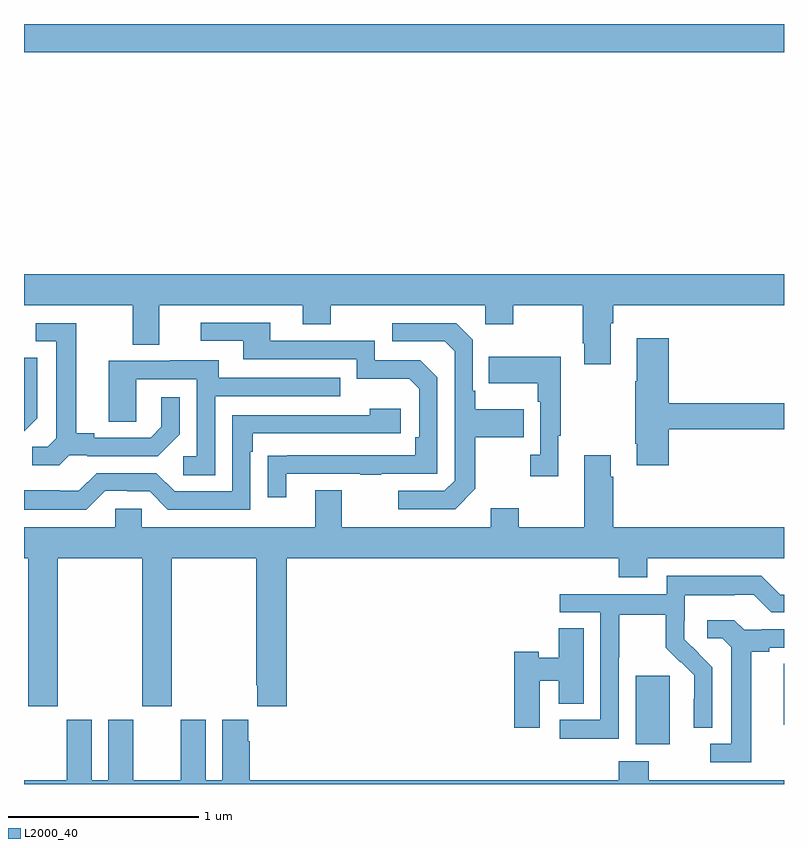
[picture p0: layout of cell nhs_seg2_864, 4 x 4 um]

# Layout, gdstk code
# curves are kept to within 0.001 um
import gdstk
lib = gdstk.Library(unit=1e-6, precision=1e-09)
def R(c, l, rs):  # rectangles x0, y0, x1, y1
    for r in rs: c.add(gdstk.rectangle(r[:2], r[2:], *l))
def P(c, l, *ps):  # polygons
    for p in ps: c.add(gdstk.Polygon(p, *l))
L2000_40 = (2000, 40)

nhs_seg2_864 = lib.new_cell('nhs_seg2_864')
R(nhs_seg2_864, L2000_40, [(158.219,628.01,158.398,628.371), (158.999,628.113,159,628.433), (155,631.652,159,631.8)])
P(nhs_seg2_864, L2000_40, [(158.089,630.224),(158.102,630.224),(158.102,630.32),(159,630.32),(159,630.484),(155,630.484),(155,630.32),(155.573,630.32),(155.573,630.112),(155.713,630.112),(155.713,630.32),(156.467,630.32),(156.467,630.221),(156.615,630.221),(156.615,630.32),(157.428,630.32),(157.428,630.221),(157.575,630.221),(157.575,630.32),(157.942,630.32),(157.942,630.121),(157.949,630.121),(157.949,630.009),(158.089,630.009)],
  [(156.379,629.433),(156.769,629.433),(156.769,629.428),(156.881,629.428),(156.881,629.433),(157.176,629.433),(157.176,629.94),(157.086,630.03),(156.846,630.03),(156.846,630.132),(156.295,630.132),(156.295,630.228),(155.931,630.228),(155.931,630.132),(156.155,630.132),(156.155,630.036),(156.75,630.036),(156.75,629.933),(157.027,629.933),(157.08,629.88),(157.08,629.626),(157.06,629.626),(157.06,629.529),(156.283,629.528),(156.283,629.31),(156.379,629.31)],
  [(155.238,629.529),(155.332,629.529),(155.332,629.526),(155.704,629.526),(155.82,629.642),(155.82,629.836),(155.723,629.836),(155.723,629.679),(155.666,629.622),(155.371,629.622),(155.371,629.645),(155.275,629.645),(155.275,630.225),(155.061,630.225),(155.061,630.129),(155.171,630.129),(155.171,629.621),(155.124,629.574),(155.043,629.574),(155.043,629.477),(155.186,629.477)],
  [(157.375,629.353),(157.375,629.626),(157.631,629.626),(157.631,629.773),(157.375,629.773),(157.375,629.869),(157.362,629.869),(157.362,630.138),(157.275,630.225),(156.939,630.225),(156.939,630.129),(157.215,630.129),(157.266,630.078),(157.266,629.397),(157.212,629.343),(156.969,629.343),(156.969,629.247),(157.269,629.247)],
  [(158.393,629.668),(159,629.668),(159,629.804),(158.393,629.804),(158.393,630.145),(158.225,630.145),(158.225,629.921),(158.218,629.921),(158.218,629.59),(158.225,629.59),(158.225,629.478),(158.393,629.478)],
  [(157.813,629.633),(157.825,629.633),(157.825,630.049),(157.447,630.049),(157.447,629.909),(157.704,629.909),(157.704,629.813),(157.716,629.813),(157.716,629.534),(157.665,629.534),(157.665,629.421),(157.813,629.421)],
  [(155.07,629.726),(155.07,630.044),(155,630.044),(155,629.656)],
  [(156.006,629.841),(156.665,629.841),(156.665,629.937),(156.025,629.937),(156.025,630.031),(155.771,630.031),(155.771,630.027),(155.447,630.027),(155.447,629.707),(155.592,629.707),(155.592,629.931),(155.91,629.931),(155.91,629.526),(155.838,629.526),(155.838,629.425),(156.006,629.425)],
  [(155.427,629.343),(155.543,629.343),(155.543,629.34),(155.661,629.34),(155.757,629.244),(156.192,629.244),(156.192,629.549),(156.205,629.549),(156.205,629.646),(156.982,629.646),(156.982,629.776),(156.821,629.776),(156.821,629.742),(156.096,629.742),(156.096,629.34),(155.793,629.34),(155.697,629.436),(155.382,629.436),(155.289,629.343),(155.189,629.343),(155.189,629.347),(155,629.347),(155,629.243),(155.327,629.243)],
  [(155.178,628.988),(155.623,628.988),(155.623,628.209),(155.778,628.209),(155.778,628.988),(156.223,628.988),(156.223,628.321),(156.227,628.321),(156.227,628.209),(156.383,628.209),(156.383,628.988),(158.129,628.988),(158.129,628.889),(158.281,628.889),(158.281,628.988),(159,628.988),(159,629.152),(158.102,629.152),(158.102,629.417),(158.089,629.417),(158.089,629.53),(157.949,629.53),(157.949,629.152),(157.605,629.152),(157.605,629.251),(157.457,629.251),(157.457,629.152),(156.673,629.152),(156.673,629.347),(156.533,629.347),(156.533,629.152),(155.619,629.152),(155.619,629.25),(155.481,629.25),(155.481,629.152),(155,629.152),(155,628.988),(155.023,628.988),(155.023,628.209),(155.178,628.209)],
  [(158.13,628.468),(158.133,628.468),(158.133,628.692),(158.377,628.692),(158.377,628.517),(158.454,628.44),(158.457,628.443),(158.528,628.373),(158.528,628.25),(158.526,628.25),(158.526,628.096),(158.622,628.096),(158.622,628.414),(158.476,628.562),(158.476,628.659),(158.478,628.659),(158.478,628.793),(158.741,628.793),(158.741,628.797),(158.841,628.797),(158.934,628.704),(159,628.704),(159,628.797),(158.979,628.797),(158.879,628.897),(158.382,628.897),(158.382,628.8),(157.821,628.8),(157.821,628.704),(158.034,628.704),(158.034,628.137),(157.821,628.137),(157.821,628.039),(158.13,628.039)],
  [(158.827,628.496),(158.923,628.496),(158.923,628.518),(159,628.518),(159,628.614),(158.884,628.614),(158.884,628.611),(158.79,628.611),(158.738,628.663),(158.595,628.663),(158.595,628.566),(158.676,628.566),(158.723,628.519),(158.723,628.011),(158.613,628.011),(158.613,627.915),(158.827,627.915)],
  [(157.714,628.343),(157.814,628.343),(157.814,628.222),(157.945,628.222),(157.945,628.619),(157.814,628.619),(157.814,628.465),(157.71,628.465),(157.71,628.496),(157.58,628.496),(157.58,628.095),(157.714,628.095)],
  [(159,627.82),(158.289,627.82),(158.289,627.919),(158.129,627.919),(158.129,627.82),(156.188,627.82),(156.188,628.025),(156.181,628.025),(156.181,628.138),(156.044,628.138),(156.044,627.82),(155.956,627.82),(155.956,628.138),(155.825,628.138),(155.825,627.82),(155.575,627.82),(155.575,628.138),(155.444,628.138),(155.444,627.82),(155.356,627.82),(155.356,628.138),(155.225,628.138),(155.225,627.82),(155,627.82),(155,627.8),(159,627.8)])

lib.write_gds('nhs_seg2_864.gds')
